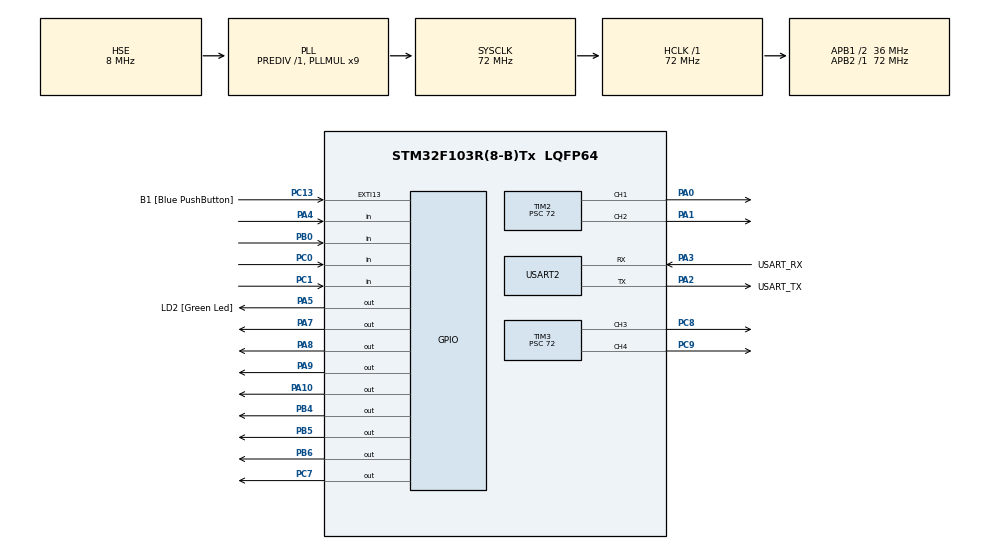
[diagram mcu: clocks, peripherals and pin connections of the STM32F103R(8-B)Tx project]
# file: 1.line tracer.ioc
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Mcu.Family=STM32F1
Mcu.Name=STM32F103R(8-B)Tx
Mcu.Package=LQFP64
NVIC.EXTI15_10_IRQn=true\:0\:0\:false\:false\:true\:true\:true\:true
NVIC.PriorityGroup=NVIC_PRIORITYGROUP_4
NVIC.TIM2_IRQn=true\:0\:0\:false\:false\:true\:true\:true\:true
NVIC.TIM3_IRQn=true\:0\:0\:false\:false\:true\:true\:true\:true
PA0-WKUP.Signal=S_TIM2_CH1_ETR
PA1.Signal=S_TIM2_CH2
PA10.Signal=GPIO_Output
PA13.GPIO_Label=TMS
PA13.Mode=Serial_Wire
PA13.Signal=SYS_JTMS-SWDIO
PA14.GPIO_Label=TCK
PA14.Mode=Serial_Wire
PA14.Signal=SYS_JTCK-SWCLK
PA2.GPIO_Label=USART_TX
PA2.GPIO_Mode=GPIO_MODE_AF_PP
PA2.GPIO_PuPd=GPIO_NOPULL
PA2.GPIO_Speed=GPIO_SPEED_FREQ_LOW
PA2.Mode=Asynchronous
PA2.Signal=USART2_TX
PA3.GPIO_Label=USART_RX
PA3.GPIO_Mode=GPIO_MODE_AF_PP
PA3.GPIO_PuPd=GPIO_NOPULL
PA3.GPIO_Speed=GPIO_SPEED_FREQ_LOW
PA3.Mode=Asynchronous
PA3.Signal=USART2_RX
PA4.Signal=GPIO_Input
PA5.GPIO_Label=LD2 [Green Led]
PA5.GPIO_ModeDefaultOutputPP=GPIO_MODE_OUTPUT_PP
PA5.GPIO_PuPd=GPIO_NOPULL
PA5.GPIO_Speed=GPIO_SPEED_FREQ_LOW
PA5.Signal=GPIO_Output
PA7.Signal=GPIO_Output
PA8.Signal=GPIO_Output
PA9.Signal=GPIO_Output
PB0.Signal=GPIO_Input
PB3.GPIO_Label=SWO
PB3.Signal=SYS_JTDO-TRACESWO
PB4.Signal=GPIO_Output
PB5.Signal=GPIO_Output
PB6.Signal=GPIO_Output
PC0.Signal=GPIO_Input
PC1.Signal=GPIO_Input
PC13-TAMPER-RTC.GPIO_Label=B1 [Blue PushButton]
PC13-TAMPER-RTC.GPIO_PuPd=GPIO_NOPULL
PC13-TAMPER-RTC.Signal=GPXTI13
PC14-OSC32_IN.Signal=RCC_OSC32_IN
PC15-OSC32_OUT.Signal=RCC_OSC32_OUT
PC7.Signal=GPIO_Output
PC8.Signal=S_TIM3_CH3
PC9.Signal=S_TIM3_CH4
PD0-OSC_IN.Mode=HSE-External-Oscillator
PD0-OSC_IN.Signal=RCC_OSC_IN
PD1-OSC_OUT.Mode=HSE-External-Oscillator
PD1-OSC_OUT.Signal=RCC_OSC_OUT
ProjectManager.HeapSize=0x200
ProjectManager.StackSize=0x400
ProjectManager.TargetToolchain=STM32CubeIDE
RCC.AHBFreq_Value=72000000
RCC.APB1CLKDivider=RCC_HCLK_DIV2
RCC.APB1Freq_Value=36000000
RCC.APB1TimFreq_Value=72000000
RCC.APB2Freq_Value=72000000
RCC.APB2TimFreq_Value=72000000
RCC.HCLKFreq_Value=72000000
RCC.PLLMUL=RCC_PLL_MUL9
RCC.PLLSourceVirtual=RCC_PLLSOURCE_HSE
RCC.RTCClockSelection=RCC_RTCCLKSOURCE_LSE
RCC.SYSCLKFreq_VALUE=72000000
RCC.SYSCLKSource=RCC_SYSCLKSOURCE_PLLCLK
RCC.USBFreq_Value=72000000
SH.S_TIM2_CH1_ETR.0=TIM2_CH1,PWM Generation1 CH1
SH.S_TIM2_CH2.0=TIM2_CH2,PWM Generation2 CH2
SH.S_TIM3_CH3.0=TIM3_CH3,PWM Generation3 CH3
SH.S_TIM3_CH4.0=TIM3_CH4,PWM Generation4 CH4
TIM2.Channel-PWM\ Generation1\ CH1=TIM_CHANNEL_1
TIM2.Channel-PWM\ Generation2\ CH2=TIM_CHANNEL_2
TIM2.Period=1000
TIM2.Prescaler=72
TIM2.Pulse-PWM\ Generation1\ CH1=0
TIM3.Channel-PWM\ Generation3\ CH3=TIM_CHANNEL_3
TIM3.Channel-PWM\ Generation4\ CH4=TIM_CHANNEL_4
TIM3.Period=1000
TIM3.Prescaler=72
USART2.VirtualMode=VM_ASYNC
VP_TIM2_VS_ClockSourceINT.Mode=Internal
VP_TIM3_VS_ClockSourceINT.Mode=Internal
board=NUCLEO-F103RB

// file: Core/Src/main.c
/* USER CODE BEGIN Header */
/**
  ******************************************************************************
  * @file           : main.c
  * @brief          : Main program body
  ******************************************************************************
  * @attention
  *
  * Copyright (c) 2022 STMicroelectronics.
  * All rights reserved.
  *
  * This software is licensed under terms that can be found in the LICENSE file
  * in the root directory of this software component.
  * If no LICENSE file comes with this software, it is provided AS-IS.
  *
  ******************************************************************************
  */
/* USER CODE END Header */
#include "main.h"

TIM_HandleTypeDef htim2;
TIM_HandleTypeDef htim3;

UART_HandleTypeDef huart2;

void SystemClock_Config(void);
static void MX_GPIO_Init(void);
static void MX_USART2_UART_Init(void);
static void MX_TIM2_Init(void);
static void MX_TIM3_Init(void);

int main(void)
{

  /* MCU Configuration--------------------------------------------------------*/

  /* Reset of all peripherals, Initializes the Flash interface and the Systick. */

   HAL_Init();

  /* Configure the system clock */
  SystemClock_Config();

  /* Initialize all configured peripherals */
  MX_GPIO_Init();
  MX_USART2_UART_Init();
  MX_TIM2_Init();
  MX_TIM3_Init();
  /* USER CODE BEGIN 2 */

  HAL_TIM_PWM_Start(&htim2, TIM_CHANNEL_1);
  HAL_TIM_PWM_Start(&htim2, TIM_CHANNEL_2);
  HAL_TIM_PWM_Start(&htim3, TIM_CHANNEL_3);
  HAL_TIM_PWM_Start(&htim3, TIM_CHANNEL_4);

  /* USER CODE END 2 */

  /* Infinite loop */
  /* USER CODE BEGIN WHILE */
  while (1)
  {

	  if(HAL_GPIO_ReadPin(GPIOA, GPIO_PIN_4) == GPIO_PIN_RESET &&
	  		   HAL_GPIO_ReadPin(GPIOB, GPIO_PIN_0) == GPIO_PIN_RESET &&
	  		   HAL_GPIO_ReadPin(GPIOC, GPIO_PIN_1) == GPIO_PIN_RESET &&
	  		   HAL_GPIO_ReadPin(GPIOC, GPIO_PIN_0) == GPIO_PIN_RESET)
	  		{
	  			 Moter_straight();
	  		}
	  		else if(HAL_GPIO_ReadPin(GPIOA, GPIO_PIN_4) == GPIO_PIN_RESET &&
	  				HAL_GPIO_ReadPin(GPIOB, GPIO_PIN_0) == GPIO_PIN_SET &&
	  				HAL_GPIO_ReadPin(GPIOC, GPIO_PIN_1) == GPIO_PIN_RESET &&
	  			    HAL_GPIO_ReadPin(GPIOC, GPIO_PIN_0) == GPIO_PIN_RESET)
	  		{
	  			Moter_Left();
	  		}
	  		else if(HAL_GPIO_ReadPin(GPIOA, GPIO_PIN_4) == GPIO_PIN_RESET &&
	  			    HAL_GPIO_ReadPin(GPIOB, GPIO_PIN_0) == GPIO_PIN_RESET &&
	  			    HAL_GPIO_ReadPin(GPIOC, GPIO_PIN_1) == GPIO_PIN_SET &&
	  			    HAL_GPIO_ReadPin(GPIOC, GPIO_PIN_0) == GPIO_PIN_RESET)
	  		{
	  			Moter_right();
	  		}
	  		else if(HAL_GPIO_ReadPin(GPIOA, GPIO_PIN_4) == GPIO_PIN_SET &&
	  			    HAL_GPIO_ReadPin(GPIOB, GPIO_PIN_0) == GPIO_PIN_RESET &&
	  			    HAL_GPIO_ReadPin(GPIOC, GPIO_PIN_1) == GPIO_PIN_RESET &&
	  			    HAL_GPIO_ReadPin(GPIOC, GPIO_PIN_0) == GPIO_PIN_RESET)
	  		{
	  			Moter_Left_2();
	  		}
	  		else if(HAL_GPIO_ReadPin(GPIOA, GPIO_PIN_4) == GPIO_PIN_SET &&
	  			    HAL_GPIO_ReadPin(GPIOB, GPIO_PIN_0) == GPIO_PIN_SET &&
	  			    HAL_GPIO_ReadPin(GPIOC, GPIO_PIN_1) == GPIO_PIN_RESET &&
	  			    HAL_GPIO_ReadPin(GPIOC, GPIO_PIN_0) == GPIO_PIN_RESET)
	  		{
	  			Moter_Left_2();
	  		}
	  		else if(HAL_GPIO_ReadPin(GPIOA, GPIO_PIN_4) == GPIO_PIN_SET &&
	  	 		    HAL_GPIO_ReadPin(GPIOB, GPIO_PIN_0) == GPIO_PIN_SET &&
	  			    HAL_GPIO_ReadPin(GPIOC, GPIO_PIN_1) == GPIO_PIN_SET &&
	  			    HAL_GPIO_ReadPin(GPIOC, GPIO_PIN_0) == GPIO_PIN_RESET)
	  		{
	  			Moter_Left_2();
	  		}
	  		else if(HAL_GPIO_ReadPin(GPIOA, GPIO_PIN_4) == GPIO_PIN_RESET &&
	  	 		    HAL_GPIO_ReadPin(GPIOB, GPIO_PIN_0) == GPIO_PIN_RESET &&
	  			    HAL_GPIO_ReadPin(GPIOC, GPIO_PIN_1) == GPIO_PIN_RESET &&
	  			    HAL_GPIO_ReadPin(GPIOC, GPIO_PIN_0) == GPIO_PIN_SET)
	  		{
	  			Moter_right_2();
	  		}
	  		else if(HAL_GPIO_ReadPin(GPIOA, GPIO_PIN_4) == GPIO_PIN_RESET &&
	  				HAL_GPIO_ReadPin(GPIOB, GPIO_PIN_0) == GPIO_PIN_RESET &&
	  		  	    HAL_GPIO_ReadPin(GPIOC, GPIO_PIN_1) == GPIO_PIN_SET &&
	  				HAL_GPIO_ReadPin(GPIOC, GPIO_PIN_0) == GPIO_PIN_SET)
	  			{
	  				Moter_right_2();
	  			}
	  		else if(HAL_GPIO_ReadPin(GPIOA, GPIO_PIN_4) == GPIO_PIN_RESET &&
	  			    HAL_GPIO_ReadPin(GPIOB, GPIO_PIN_0) == GPIO_PIN_SET &&
	  			    HAL_GPIO_ReadPin(GPIOC, GPIO_PIN_1) == GPIO_PIN_SET &&
	  			    HAL_GPIO_ReadPin(GPIOC, GPIO_PIN_0) == GPIO_PIN_SET)
	  			{
	  				Moter_right_2();
	  			}

	  		else if(HAL_GPIO_ReadPin(GPIOA, GPIO_PIN_4) == GPIO_PIN_SET &&
	  			  	 HAL_GPIO_ReadPin(GPIOB, GPIO_PIN_0) == GPIO_PIN_SET &&
	  			  	 HAL_GPIO_ReadPin(GPIOC, GPIO_PIN_1) == GPIO_PIN_SET &&
	  			  	 HAL_GPIO_ReadPin(GPIOC, GPIO_PIN_0) == GPIO_PIN_SET)
	  			  			{
	  			  				Moter_Break();
	  			  			}

    /* USER CODE END WHILE */

  }
}

void SystemClock_Config(void)
{
  RCC_OscInitTypeDef RCC_OscInitStruct = {0};
  RCC_ClkInitTypeDef RCC_ClkInitStruct = {0};

  /** Initializes the RCC Oscillators according to the specified parameters
  * in the RCC_OscInitTypeDef structure.
  */
  RCC_OscInitStruct.OscillatorType = RCC_OSCILLATORTYPE_HSE;
  RCC_OscInitStruct.HSEState = RCC_HSE_ON;
  RCC_OscInitStruct.HSEPredivValue = RCC_HSE_PREDIV_DIV1;
  RCC_OscInitStruct.HSIState = RCC_HSI_ON;
  RCC_OscInitStruct.PLL.PLLState = RCC_PLL_ON;
  RCC_OscInitStruct.PLL.PLLSource = RCC_PLLSOURCE_HSE;
  RCC_OscInitStruct.PLL.PLLMUL = RCC_PLL_MUL9;
  if (HAL_RCC_OscConfig(&RCC_OscInitStruct) != HAL_OK)
  {
    Error_Handler();
  }

  /** Initializes the CPU, AHB and APB buses clocks
  */
  RCC_ClkInitStruct.ClockType = RCC_CLOCKTYPE_HCLK|RCC_CLOCKTYPE_SYSCLK
                              |RCC_CLOCKTYPE_PCLK1|RCC_CLOCKTYPE_PCLK2;
  RCC_ClkInitStruct.SYSCLKSource = RCC_SYSCLKSOURCE_PLLCLK;
  RCC_ClkInitStruct.AHBCLKDivider = RCC_SYSCLK_DIV1;
  RCC_ClkInitStruct.APB1CLKDivider = RCC_HCLK_DIV2;
  RCC_ClkInitStruct.APB2CLKDivider = RCC_HCLK_DIV1;

  if (HAL_RCC_ClockConfig(&RCC_ClkInitStruct, FLASH_LATENCY_2) != HAL_OK)
  {
    Error_Handler();
  }
}

static void MX_TIM2_Init(void)
{

  TIM_ClockConfigTypeDef sClockSourceConfig = {0};
  TIM_MasterConfigTypeDef sMasterConfig = {0};
  TIM_OC_InitTypeDef sConfigOC = {0};

  htim2.Instance = TIM2;
  htim2.Init.Prescaler = 72;
  htim2.Init.CounterMode = TIM_COUNTERMODE_UP;
  htim2.Init.Period = 1000;
  htim2.Init.ClockDivision = TIM_CLOCKDIVISION_DIV1;
  htim2.Init.AutoReloadPreload = TIM_AUTORELOAD_PRELOAD_DISABLE;
  if (HAL_TIM_Base_Init(&htim2) != HAL_OK)
  {
    Error_Handler();
  }
  sClockSourceConfig.ClockSource = TIM_CLOCKSOURCE_INTERNAL;
  if (HAL_TIM_ConfigClockSource(&htim2, &sClockSourceConfig) != HAL_OK)
  {
    Error_Handler();
  }
  if (HAL_TIM_PWM_Init(&htim2) != HAL_OK)
  {
    Error_Handler();
  }
  sMasterConfig.MasterOutputTrigger = TIM_TRGO_RESET;
  sMasterConfig.MasterSlaveMode = TIM_MASTERSLAVEMODE_DISABLE;
  if (HAL_TIMEx_MasterConfigSynchronization(&htim2, &sMasterConfig) != HAL_OK)
  {
    Error_Handler();
  }
  sConfigOC.OCMode = TIM_OCMODE_PWM1;
  sConfigOC.Pulse = 500;
  sConfigOC.OCPolarity = TIM_OCPOLARITY_HIGH;
  sConfigOC.OCFastMode = TIM_OCFAST_DISABLE;
  if (HAL_TIM_PWM_ConfigChannel(&htim2, &sConfigOC, TIM_CHANNEL_1) != HAL_OK)
  {
    Error_Handler();
  }
  sConfigOC.Pulse = 0;
  if (HAL_TIM_PWM_ConfigChannel(&htim2, &sConfigOC, TIM_CHANNEL_2) != HAL_OK)
  {
    Error_Handler();
  }
  HAL_TIM_MspPostInit(&htim2);

}

static void MX_TIM3_Init(void)
{

  TIM_ClockConfigTypeDef sClockSourceConfig = {0};
  TIM_MasterConfigTypeDef sMasterConfig = {0};
  TIM_OC_InitTypeDef sConfigOC = {0};

  htim3.Instance = TIM3;
  htim3.Init.Prescaler = 72;
  htim3.Init.CounterMode = TIM_COUNTERMODE_UP;
  htim3.Init.Period = 1000;
  htim3.Init.ClockDivision = TIM_CLOCKDIVISION_DIV1;
  htim3.Init.AutoReloadPreload = TIM_AUTORELOAD_PRELOAD_DISABLE;
  if (HAL_TIM_Base_Init(&htim3) != HAL_OK)
  {
    Error_Handler();
  }
  sClockSourceConfig.ClockSource = TIM_CLOCKSOURCE_INTERNAL;
  if (HAL_TIM_ConfigClockSource(&htim3, &sClockSourceConfig) != HAL_OK)
  {
    Error_Handler();
  }
  if (HAL_TIM_PWM_Init(&htim3) != HAL_OK)
  {
    Error_Handler();
  }
  sMasterConfig.MasterOutputTrigger = TIM_TRGO_RESET;
  sMasterConfig.MasterSlaveMode = TIM_MASTERSLAVEMODE_DISABLE;
  if (HAL_TIMEx_MasterConfigSynchronization(&htim3, &sMasterConfig) != HAL_OK)
  {
    Error_Handler();
  }
  sConfigOC.OCMode = TIM_OCMODE_PWM1;
  sConfigOC.Pulse = 0;
  sConfigOC.OCPolarity = TIM_OCPOLARITY_HIGH;
  sConfigOC.OCFastMode = TIM_OCFAST_DISABLE;
  if (HAL_TIM_PWM_ConfigChannel(&htim3, &sConfigOC, TIM_CHANNEL_3) != HAL_OK)
  {
    Error_Handler();
  }
  if (HAL_TIM_PWM_ConfigChannel(&htim3, &sConfigOC, TIM_CHANNEL_4) != HAL_OK)
  {
    Error_Handler();
  }
  HAL_TIM_MspPostInit(&htim3);

}

static void MX_USART2_UART_Init(void)
{

  huart2.Instance = USART2;
  huart2.Init.BaudRate = 115200;
  huart2.Init.WordLength = UART_WORDLENGTH_8B;
  huart2.Init.StopBits = UART_STOPBITS_1;
  huart2.Init.Parity = UART_PARITY_NONE;
  huart2.Init.Mode = UART_MODE_TX_RX;
  huart2.Init.HwFlowCtl = UART_HWCONTROL_NONE;
  huart2.Init.OverSampling = UART_OVERSAMPLING_16;
  if (HAL_UART_Init(&huart2) != HAL_OK)
  {
    Error_Handler();
  }

}

static void MX_GPIO_Init(void)
{
  GPIO_InitTypeDef GPIO_InitStruct = {0};

  /* GPIO Ports Clock Enable */
  __HAL_RCC_GPIOC_CLK_ENABLE();
  __HAL_RCC_GPIOD_CLK_ENABLE();
  __HAL_RCC_GPIOA_CLK_ENABLE();
  __HAL_RCC_GPIOB_CLK_ENABLE();

  /*Configure GPIO pin Output Level */
  HAL_GPIO_WritePin(GPIOA, LD2_Pin|GPIO_PIN_7|GPIO_PIN_8|GPIO_PIN_9
                          |GPIO_PIN_10, GPIO_PIN_RESET);

  /*Configure GPIO pin Output Level */
  HAL_GPIO_WritePin(GPIOC, GPIO_PIN_7, GPIO_PIN_RESET);

  /*Configure GPIO pin Output Level */
  HAL_GPIO_WritePin(GPIOB, GPIO_PIN_4|GPIO_PIN_5|GPIO_PIN_6, GPIO_PIN_RESET);

  /*Configure GPIO pin : B1_Pin */
  GPIO_InitStruct.Pin = B1_Pin;
  GPIO_InitStruct.Mode = GPIO_MODE_IT_RISING;
  GPIO_InitStruct.Pull = GPIO_NOPULL;
  HAL_GPIO_Init(B1_GPIO_Port, &GPIO_InitStruct);

  /*Configure GPIO pins : PC0 PC1 */
  GPIO_InitStruct.Pin = GPIO_PIN_0|GPIO_PIN_1;
  GPIO_InitStruct.Mode = GPIO_MODE_INPUT;
  GPIO_InitStruct.Pull = GPIO_NOPULL;
  HAL_GPIO_Init(GPIOC, &GPIO_InitStruct);

  /*Configure GPIO pin : PA4 */
  GPIO_InitStruct.Pin = GPIO_PIN_4;
  GPIO_InitStruct.Mode = GPIO_MODE_INPUT;
  GPIO_InitStruct.Pull = GPIO_NOPULL;
  HAL_GPIO_Init(GPIOA, &GPIO_InitStruct);

  /*Configure GPIO pins : LD2_Pin PA7 PA8 PA9
                           PA10 */
  GPIO_InitStruct.Pin = LD2_Pin|GPIO_PIN_7|GPIO_PIN_8|GPIO_PIN_9
                          |GPIO_PIN_10;
  GPIO_InitStruct.Mode = GPIO_MODE_OUTPUT_PP;
  GPIO_InitStruct.Pull = GPIO_NOPULL;
  GPIO_InitStruct.Speed = GPIO_SPEED_FREQ_LOW;
  HAL_GPIO_Init(GPIOA, &GPIO_InitStruct);

  /*Configure GPIO pin : PB0 */
  GPIO_InitStruct.Pin = GPIO_PIN_0;
  GPIO_InitStruct.Mode = GPIO_MODE_INPUT;
  GPIO_InitStruct.Pull = GPIO_NOPULL;
  HAL_GPIO_Init(GPIOB, &GPIO_InitStruct);

  /*Configure GPIO pin : PC7 */
  GPIO_InitStruct.Pin = GPIO_PIN_7;
  GPIO_InitStruct.Mode = GPIO_MODE_OUTPUT_PP;
  GPIO_InitStruct.Pull = GPIO_NOPULL;
  GPIO_InitStruct.Speed = GPIO_SPEED_FREQ_LOW;
  HAL_GPIO_Init(GPIOC, &GPIO_InitStruct);

  /*Configure GPIO pins : PB4 PB5 PB6 */
  GPIO_InitStruct.Pin = GPIO_PIN_4|GPIO_PIN_5|GPIO_PIN_6;
  GPIO_InitStruct.Mode = GPIO_MODE_OUTPUT_PP;
  GPIO_InitStruct.Pull = GPIO_NOPULL;
  GPIO_InitStruct.Speed = GPIO_SPEED_FREQ_LOW;
  HAL_GPIO_Init(GPIOB, &GPIO_InitStruct);

  /* EXTI interrupt init*/
  HAL_NVIC_SetPriority(EXTI15_10_IRQn, 0, 0);
  HAL_NVIC_EnableIRQ(EXTI15_10_IRQn);

}

/* USER CODE BEGIN 4 */
void Moter_straight()
{

	//Moter_front_L
	__HAL_TIM_SET_COMPARE(&htim2,TIM_CHANNEL_1,500);
	HAL_GPIO_WritePin(GPIOA, GPIO_PIN_10, GPIO_PIN_RESET);
	HAL_GPIO_WritePin(GPIOB, GPIO_PIN_5, GPIO_PIN_SET);

	//Moter_rear_L
	__HAL_TIM_SET_COMPARE(&htim2,TIM_CHANNEL_2,500);
	HAL_GPIO_WritePin(GPIOB, GPIO_PIN_4, GPIO_PIN_RESET);
    HAL_GPIO_WritePin(GPIOA, GPIO_PIN_8, GPIO_PIN_SET);

    //Moter_front_R
	__HAL_TIM_SET_COMPARE(&htim3,TIM_CHANNEL_3,500);
    HAL_GPIO_WritePin(GPIOA, GPIO_PIN_9, GPIO_PIN_RESET);
    HAL_GPIO_WritePin(GPIOC, GPIO_PIN_7, GPIO_PIN_SET);

    //Moter_rear_R
	__HAL_TIM_SET_COMPARE(&htim3,TIM_CHANNEL_4,500);
	HAL_GPIO_WritePin(GPIOB, GPIO_PIN_6, GPIO_PIN_RESET);
	HAL_GPIO_WritePin(GPIOA, GPIO_PIN_7, GPIO_PIN_SET);

}

void Moter_back()
{

	//Moter_front_L
	__HAL_TIM_SET_COMPARE(&htim2,TIM_CHANNEL_1,500);
	HAL_GPIO_WritePin(GPIOA, GPIO_PIN_10, GPIO_PIN_SET);
	HAL_GPIO_WritePin(GPIOB, GPIO_PIN_5, GPIO_PIN_RESET);

	//Moter_rear_L
	__HAL_TIM_SET_COMPARE(&htim2,TIM_CHANNEL_2,500);
	HAL_GPIO_WritePin(GPIOB, GPIO_PIN_4, GPIO_PIN_SET);
	HAL_GPIO_WritePin(GPIOA, GPIO_PIN_8, GPIO_PIN_RESET);

    //Moter_front_R
	__HAL_TIM_SET_COMPARE(&htim3,TIM_CHANNEL_3,500);
    HAL_GPIO_WritePin(GPIOA, GPIO_PIN_9, GPIO_PIN_SET);
    HAL_GPIO_WritePin(GPIOC, GPIO_PIN_7, GPIO_PIN_RESET);

    //Moter_rear_R
	__HAL_TIM_SET_COMPARE(&htim3,TIM_CHANNEL_4,500);
	HAL_GPIO_WritePin(GPIOB, GPIO_PIN_6, GPIO_PIN_SET);
	HAL_GPIO_WritePin(GPIOA, GPIO_PIN_7, GPIO_PIN_RESET);

}

void Moter_right()
{

	//Moter_front_L
	__HAL_TIM_SET_COMPARE(&htim2,TIM_CHANNEL_1,999);
	HAL_GPIO_WritePin(GPIOA, GPIO_PIN_10, GPIO_PIN_RESET);
	HAL_GPIO_WritePin(GPIOB, GPIO_PIN_5, GPIO_PIN_SET);

	//Moter_rear_L
	__HAL_TIM_SET_COMPARE(&htim2,TIM_CHANNEL_2,999);
	HAL_GPIO_WritePin(GPIOB, GPIO_PIN_4, GPIO_PIN_RESET);
    HAL_GPIO_WritePin(GPIOA, GPIO_PIN_8, GPIO_PIN_SET);

    //Moter_front_R
	__HAL_TIM_SET_COMPARE(&htim3,TIM_CHANNEL_3,0);
    HAL_GPIO_WritePin(GPIOA, GPIO_PIN_9, GPIO_PIN_RESET);
    HAL_GPIO_WritePin(GPIOC, GPIO_PIN_7, GPIO_PIN_SET);

    //Moter_rear_R
	__HAL_TIM_SET_COMPARE(&htim3,TIM_CHANNEL_4,0);
	HAL_GPIO_WritePin(GPIOB, GPIO_PIN_6, GPIO_PIN_RESET);
	HAL_GPIO_WritePin(GPIOA, GPIO_PIN_7, GPIO_PIN_SET);

}

void Moter_right_2()
{

	//Moter_front_L
	__HAL_TIM_SET_COMPARE(&htim2,TIM_CHANNEL_1,999);
	HAL_GPIO_WritePin(GPIOA, GPIO_PIN_10, GPIO_PIN_RESET);
	HAL_GPIO_WritePin(GPIOB, GPIO_PIN_5, GPIO_PIN_SET);

	//Moter_rear_L
	__HAL_TIM_SET_COMPARE(&htim2,TIM_CHANNEL_2,999);
	HAL_GPIO_WritePin(GPIOB, GPIO_PIN_4, GPIO_PIN_RESET);
    HAL_GPIO_WritePin(GPIOA, GPIO_PIN_8, GPIO_PIN_SET);

    //Moter_front_R
	__HAL_TIM_SET_COMPARE(&htim3,TIM_CHANNEL_3,700);
    HAL_GPIO_WritePin(GPIOA, GPIO_PIN_9, GPIO_PIN_SET);
    HAL_GPIO_WritePin(GPIOC, GPIO_PIN_7, GPIO_PIN_RESET);

    //Moter_rear_R
	__HAL_TIM_SET_COMPARE(&htim3,TIM_CHANNEL_4,700);
	HAL_GPIO_WritePin(GPIOB, GPIO_PIN_6, GPIO_PIN_SET);
	HAL_GPIO_WritePin(GPIOA, GPIO_PIN_7, GPIO_PIN_RESET);

}

void Moter_Left()
{

	//Moter_front_L
	__HAL_TIM_SET_COMPARE(&htim2,TIM_CHANNEL_1,0);
	HAL_GPIO_WritePin(GPIOA, GPIO_PIN_10, GPIO_PIN_RESET);
	HAL_GPIO_WritePin(GPIOB, GPIO_PIN_5, GPIO_PIN_SET);

	//Moter_rear_L
	__HAL_TIM_SET_COMPARE(&htim2,TIM_CHANNEL_2,0);
	HAL_GPIO_WritePin(GPIOB, GPIO_PIN_4, GPIO_PIN_RESET);
    HAL_GPIO_WritePin(GPIOA, GPIO_PIN_8, GPIO_PIN_SET);

    //Moter_front_R
	__HAL_TIM_SET_COMPARE(&htim3,TIM_CHANNEL_3,999);
    HAL_GPIO_WritePin(GPIOA, GPIO_PIN_9, GPIO_PIN_RESET);
    HAL_GPIO_WritePin(GPIOC, GPIO_PIN_7, GPIO_PIN_SET);

    //Moter_rear_R
	__HAL_TIM_SET_COMPARE(&htim3,TIM_CHANNEL_4,999);
	HAL_GPIO_WritePin(GPIOB, GPIO_PIN_6, GPIO_PIN_RESET);
	HAL_GPIO_WritePin(GPIOA, GPIO_PIN_7, GPIO_PIN_SET);

}

void Moter_Left_2()
{

	//Moter_front_L
	__HAL_TIM_SET_COMPARE(&htim2,TIM_CHANNEL_1,700);
	HAL_GPIO_WritePin(GPIOA, GPIO_PIN_10, GPIO_PIN_SET);
	HAL_GPIO_WritePin(GPIOB, GPIO_PIN_5, GPIO_PIN_RESET);

	//Moter_rear_L
	__HAL_TIM_SET_COMPARE(&htim2,TIM_CHANNEL_2,700);
	HAL_GPIO_WritePin(GPIOB, GPIO_PIN_4, GPIO_PIN_SET);
    HAL_GPIO_WritePin(GPIOA, GPIO_PIN_8, GPIO_PIN_RESET);

    //Moter_front_R
	__HAL_TIM_SET_COMPARE(&htim3,TIM_CHANNEL_3,999);
    HAL_GPIO_WritePin(GPIOA, GPIO_PIN_9, GPIO_PIN_RESET);
    HAL_GPIO_WritePin(GPIOC, GPIO_PIN_7, GPIO_PIN_SET);

    //Moter_rear_R
	__HAL_TIM_SET_COMPARE(&htim3,TIM_CHANNEL_4,999);
	HAL_GPIO_WritePin(GPIOB, GPIO_PIN_6, GPIO_PIN_RESET);
	HAL_GPIO_WritePin(GPIOA, GPIO_PIN_7, GPIO_PIN_SET);

}

void Moter_Break()
{
	//Moter_front_L
	__HAL_TIM_SET_COMPARE(&htim2,TIM_CHANNEL_1,0);
	HAL_GPIO_WritePin(GPIOA, GPIO_PIN_10, GPIO_PIN_RESET);
	HAL_GPIO_WritePin(GPIOB, GPIO_PIN_5, GPIO_PIN_SET);

	//Moter_rear_L
	__HAL_TIM_SET_COMPARE(&htim2,TIM_CHANNEL_2,0);
	HAL_GPIO_WritePin(GPIOB, GPIO_PIN_4, GPIO_PIN_RESET);
    HAL_GPIO_WritePin(GPIOA, GPIO_PIN_8, GPIO_PIN_SET);

	//Moter_front_R
	__HAL_TIM_SET_COMPARE(&htim3,TIM_CHANNEL_3,0);
	HAL_GPIO_WritePin(GPIOA, GPIO_PIN_9, GPIO_PIN_RESET);
	HAL_GPIO_WritePin(GPIOC, GPIO_PIN_7, GPIO_PIN_SET);

	//Moter_rear_R
	__HAL_TIM_SET_COMPARE(&htim3,TIM_CHANNEL_4,0);
	HAL_GPIO_WritePin(GPIOB, GPIO_PIN_6, GPIO_PIN_RESET);
	HAL_GPIO_WritePin(GPIOA, GPIO_PIN_7, GPIO_PIN_SET);
}

/* USER CODE END 4 */

void Error_Handler(void)
{
  __disable_irq();
  while (1)
  {
  }
}
